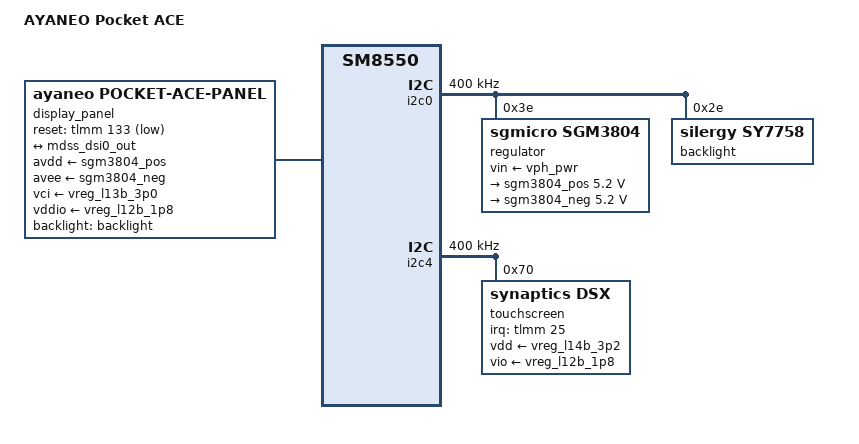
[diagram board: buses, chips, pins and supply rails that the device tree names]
// SPDX-License-Identifier: BSD-3-Clause
/*
 * Copyright (c) 2025, Teguh Sobirin.
 * Copyright (c) 2025, ROCKNIX (https://github.com/ROCKNIX)
 */

/dts-v1/;

#include "qcs8550-ayaneo-pocket-common.dtsi"

/ {
	model = "AYANEO Pocket ACE";
	qcom,board-id = <0x1000b 0x01>;
	qcom,msm-id = <0x258 0x20000>, <0x259 0x20000>;
	compatible = "ayaneo,pocketace", "qcom,qcs8550", "qcom,sm8550";
	rocknix-u-boot-dt-id = "u-boot-pocket-ace";
};

&tlmm {
	panel_pwr_active: panel-pwr-active-state {
		pins = "gpio72", "gpio42", "gpio152", "gpio153";
		function = "gpio";
		drive-strength = <8>;
		bias-disable;
		output-high;
	};

	panel_pwr_sleep: panel-pwr-sleep-state {
		pins = "gpio72", "gpio42", "gpio152", "gpio153";
		function = "gpio";
		output-low;
	};

	backlight_pwr_active: backlight-pwr-active-state {
		pins = "gpio41";
		function = "gpio";
		drive-strength = <8>;
		bias-disable;
		output-high;
	};

	backlight_pwr_sleep: backlight-pwr-sleep-state {
		pins = "gpio41";
		function = "gpio";
		output-low;
	};

	ts_int_active: ts-int-default-state {
		pins = "gpio25";
		function = "gpio";
		bias-pull-up;
		input-enable;
	};
};

&i2c0 {
   clock-frequency = <400000>;
	status = "okay";

	/* Screen power */
	regulator@3e {
		compatible = "sgmicro,sgm3804";
		reg = <0x3e>;
		pinctrl-0 = <&panel_pwr_active>;
		pinctrl-1 = <&panel_pwr_sleep>;
		pinctrl-names = "default", "sleep";

		vin-supply = <&vph_pwr>;

		sgm3804_pos: pos {
			regulator-name = "panel-avdd";
			regulator-min-microvolt = <5200000>;
			regulator-max-microvolt = <5200000>;
			regulator-active-discharge = <1>;
			regulator-boot-on;
			enable-gpios = <&tlmm 152 GPIO_ACTIVE_HIGH>;
		};

		sgm3804_neg: neg {
			regulator-name = "panel-avee";
			regulator-min-microvolt = <5200000>;
			regulator-max-microvolt = <5200000>;
			regulator-active-discharge = <1>;
			regulator-boot-on;
			enable-gpios = <&tlmm 153 GPIO_ACTIVE_HIGH>;
		};
	};

	/* Backlight */
	backlight: sy7758@2e {
		compatible = "silergy,sy7758";
		reg = <0x2e>;
		pinctrl-0 = <&backlight_pwr_active>;
		pinctrl-1 = <&backlight_pwr_sleep>;
		pinctrl-names = "default", "sleep";
		status = "okay";
	};
};

&i2c4 {
	clock-frequency = <400000>;
	status = "okay";

	touchscreen@70 {
		compatible = "synaptics,dsx";
		reg = <0x70>;

		pinctrl-names = "default";
		pinctrl-0 = <&ts_int_active>;

		synaptics,irq-gpio = <&tlmm 25 0x2008>;
		synaptics,irq-flags = <0x2008>;
		synaptics,power-delay-ms = <200>;
		synaptics,ub-i2c-addr = <0x70>;

		vdd-supply = <&vreg_l14b_3p2>;
		synaptics,pwr-reg-name = "vdd";
		synaptics,bus-reg-name = "vio";
		vio-supply = <&vreg_l12b_1p8>;
	};
};

&mdss_dsi0_out {
	remote-endpoint = <&panel0_in>;
	data-lanes = <0 1 2 3>;
};

&display_panel {
	compatible = "ayaneo,pocket-ace-panel";

	avdd-supply = <&sgm3804_pos>;
	avee-supply = <&sgm3804_neg>;
	vci-supply = <&vreg_l13b_3p0>;
	vddio-supply = <&vreg_l12b_1p8>;

	backlight = <&backlight>;
	reset-gpios = <&tlmm 133 GPIO_ACTIVE_LOW>;

	rotation = <90>;

	port {
		panel0_in: endpoint {
			remote-endpoint = <&mdss_dsi0_out>;
		};
	};
};
